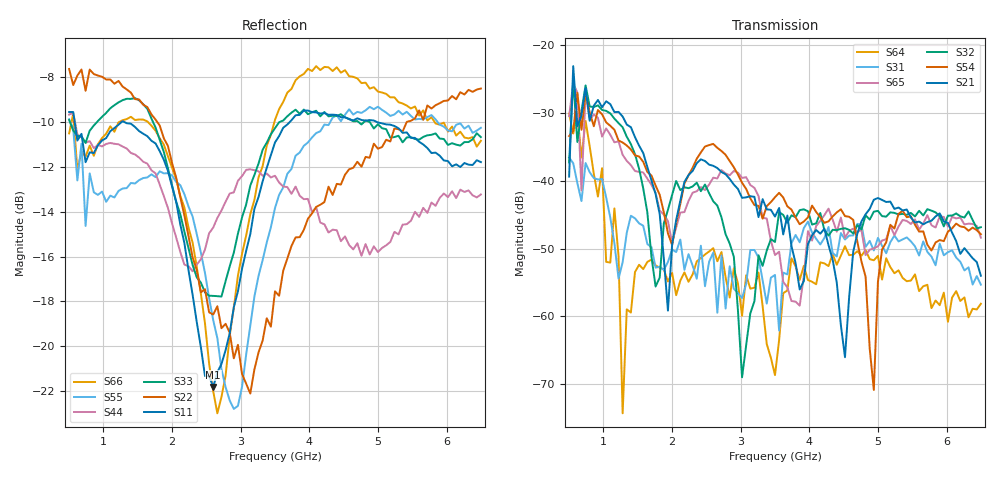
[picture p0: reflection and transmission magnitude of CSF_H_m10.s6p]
!Keysight Technologies,M9804A,MY58100912,A.14.10.03
!Date: Thursday, April 27, 2023 10:28:33
!Correction: S11(C  6-Port  )
!S12(C  6-Port  )
!S13(C  6-Port  )
!S14(C  6-Port  )
!S15(C  6-Port  )
!S16(C  6-Port  )
!S21(C  6-Port  )
!S22(C  6-Port  )
!S23(C  6-Port  )
!S24(C  6-Port  )
!S25(C  6-Port  )
!S26(C  6-Port  )
!S31(C  6-Port  )
!S32(C  6-Port  )
!S33(C  6-Port  )
!S34(C  6-Port  )
!S35(C  6-Port  )
!S36(C  6-Port  )
!S41(C  6-Port  )
!S42(C  6-Port  )
!S43(C  6-Port  )
!S44(C  6-Port  )
!S45(C  6-Port  )
!S46(C  6-Port  )
!S51(C  6-Port  )
!S52(C  6-Port  )
!S53(C  6-Port  )
!S54(C  6-Port  )
!S55(C  6-Port  )
!S56(C  6-Port  )
!S61(C  6-Port  )
!S62(C  6-Port  )
!S63(C  6-Port  )
!S64(C  6-Port  )
!S65(C  6-Port  )
!S66(C  6-Port  )
!S6P File: Measurement: :
# Hz S  RI  R 50
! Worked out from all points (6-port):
!   101 points, 500 MHz to 6.5 GHz, reference 50 ohm
!   strongest paths, dB at 500 MHz, 2 GHz, 3.5 GHz, 5 GHz, 6.5 GHz:
!     S21: -39.4, -49.5, -45.3, -42.5, -54.0
!     S54: -33.4, -49.5, -42.4, -54.9, -47.9
!     S32: -37.3, -42.1, -49.0, -44.4, -46.8
!     S65: -30.5, -49.1, -51.0, -49.7, -48.4
!     S31: -36.6, -50.2, -53.9, -48.4, -55.3
!     S64: -30.1, -53.6, -68.7, -51.1, -58.1
!   lowest |S11| = -21.8 dB at 2.6 GHz (marker M1), VSWR 1.18, Z = 42.7 + j1.92 ohm
!   |S11| at or under -10 dB: 580.6 MHz to 1.268 GHz (687.9 MHz wide, 74.4 % of centre); 1.299 GHz to 3.718 GHz (2.418 GHz wide, 96.4 % of centre); 4.979 GHz to end of sweep
